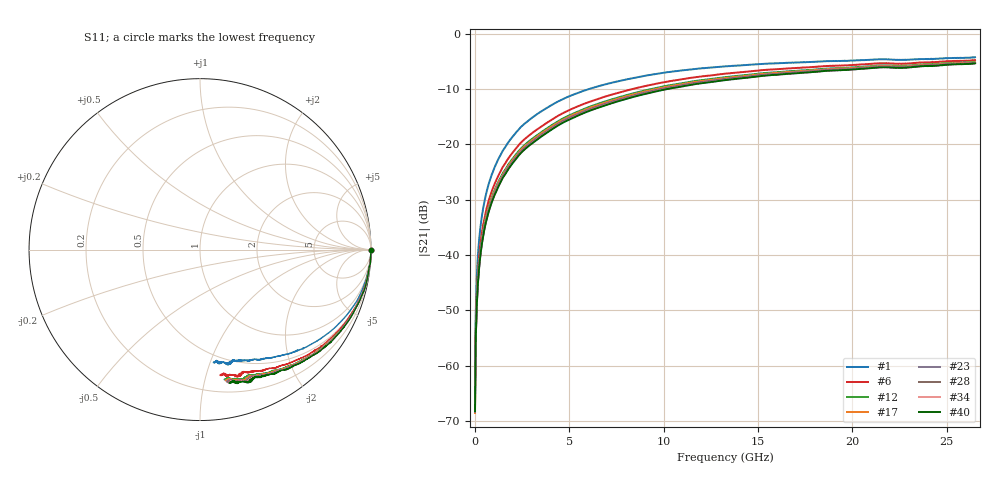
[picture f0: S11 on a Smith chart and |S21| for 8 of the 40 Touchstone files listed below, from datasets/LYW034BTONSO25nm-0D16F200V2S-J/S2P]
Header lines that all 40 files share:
!Keysight Technologies,N5222B,MY61253708,A.15.00.15
!Correction: S11(C  2-Port  )
!S21(C  2-Port  )
!S12(C  2-Port  )
!S22(C  2-Port  )
!S2P File: Measurements: S11, S21, S12, S22:
# Hz S  RI  R 50
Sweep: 10 MHz to 26.5 GHz
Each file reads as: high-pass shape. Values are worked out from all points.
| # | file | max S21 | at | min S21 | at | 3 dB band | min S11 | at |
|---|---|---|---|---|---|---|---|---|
| 1 | LYW034BTONSO25nm_0D16F200V2S_J_0V_dev.s2p | -4.27 dB | 26.38 GHz | -59.6 dB | 10 MHz | 9.636 GHz-26.5 GHz | -3.7 dB | 25.49 GHz |
| 2 | LYW034BTONSO25nm_0D16F200V2S_J_2V_dev.s2p | -4.31 dB | 26.38 GHz | -59.8 dB | 10 MHz | 9.566 GHz-26.5 GHz | -3.7 dB | 25.49 GHz |
| 3 | LYW034BTONSO25nm_0D16F200V2S_J_4V_dev.s2p | -4.41 dB | 26.38 GHz | -61.8 dB | 10 MHz | 9.936 GHz-26.5 GHz | -3.5 dB | 25.49 GHz |
| 4 | LYW034BTONSO25nm_0D16F200V2S_J_6V_dev.s2p | -4.53 dB | 26.38 GHz | -67.0 dB | 10 MHz | 10.89 GHz-26.5 GHz | -3.1 dB | 25.5 GHz |
| 5 | LYW034BTONSO25nm_0D16F200V2S_J_8V_dev.s2p | -4.67 dB | 26.38 GHz | -67.3 dB | 10 MHz | 11.53 GHz-26.5 GHz | -2.8 dB | 25.5 GHz |
| 6 | LYW034BTONSO25nm_0D16F200V2S_J_10V_dev.s2p | -4.79 dB | 26.5 GHz | -67.4 dB | 10 MHz | 11.88 GHz-26.5 GHz | -2.7 dB | 25.5 GHz |
| 7 | LYW034BTONSO25nm_0D16F200V2S_J_12V_dev.s2p | -4.88 dB | 26.5 GHz | -70.5 dB | 10 MHz | 12.18 GHz-26.5 GHz | -2.6 dB | 25.5 GHz |
| 8 | LYW034BTONSO25nm_0D16F200V2S_J_14V_dev.s2p | -4.95 dB | 26.5 GHz | -65.2 dB | 10 MHz | 12.36 GHz-26.5 GHz | -2.5 dB | 25.5 GHz |
| 9 | LYW034BTONSO25nm_0D16F200V2S_J_16V_dev.s2p | -5.00 dB | 26.5 GHz | -77.5 dB | 10 MHz | 12.51 GHz-26.5 GHz | -2.4 dB | 25.5 GHz |
| 10 | LYW034BTONSO25nm_0D16F200V2S_J_18V_dev.s2p | -5.04 dB | 26.5 GHz | -69.8 dB | 10 MHz | 12.63 GHz-26.5 GHz | -2.4 dB | 25.5 GHz |
| 11 | LYW034BTONSO25nm_0D16F200V2S_J_20V_dev.s2p | -5.08 dB | 26.5 GHz | -64.4 dB | 10 MHz | 12.69 GHz-26.5 GHz | -2.4 dB | 25.5 GHz |
| 12 | LYW034BTONSO25nm_0D16F200V2S_J_22V_dev.s2p | -5.10 dB | 26.5 GHz | -63.2 dB | 10 MHz | 12.76 GHz-26.5 GHz | -2.3 dB | 25.5 GHz |
| 13 | LYW034BTONSO25nm_0D16F200V2S_J_24V_dev.s2p | -5.13 dB | 26.5 GHz | -68.1 dB | 10 MHz | 12.81 GHz-26.5 GHz | -2.3 dB | 25.5 GHz |
| 14 | LYW034BTONSO25nm_0D16F200V2S_J_26V_dev.s2p | -5.15 dB | 26.5 GHz | -69.3 dB | 10 MHz | 12.82 GHz-26.5 GHz | -2.3 dB | 25.5 GHz |
| 15 | LYW034BTONSO25nm_0D16F200V2S_J_28V_dev.s2p | -5.16 dB | 26.5 GHz | -73.2 dB | 10 MHz | 12.87 GHz-26.5 GHz | -2.3 dB | 25.5 GHz |
| 16 | LYW034BTONSO25nm_0D16F200V2S_J_30V_dev.s2p | -5.18 dB | 26.5 GHz | -63.0 dB | 10 MHz | 12.93 GHz-26.5 GHz | -2.3 dB | 25.5 GHz |
| 17 | LYW034BTONSO25nm_0D16F200V2S_J_32V_dev.s2p | -5.20 dB | 26.5 GHz | -68.6 dB | 10 MHz | 12.94 GHz-26.5 GHz | -2.2 dB | 25.5 GHz |
| 18 | LYW034BTONSO25nm_0D16F200V2S_J_34V_dev.s2p | -5.21 dB | 26.5 GHz | -70.5 dB | 10 MHz | 12.95 GHz-26.5 GHz | -2.2 dB | 25.5 GHz |
| 19 | LYW034BTONSO25nm_0D16F200V2S_J_36V_dev.s2p | -5.22 dB | 26.5 GHz | -71.2 dB | 10 MHz | 12.99 GHz-26.5 GHz | -2.2 dB | 25.5 GHz |
| 20 | LYW034BTONSO25nm_0D16F200V2S_J_38V_dev.s2p | -5.24 dB | 26.5 GHz | -72.2 dB | 10 MHz | 13.05 GHz-26.5 GHz | -2.2 dB | 25.5 GHz |
| 21 | LYW034BTONSO25nm_0D16F200V2S_J_40V_dev.s2p | -5.25 dB | 26.5 GHz | -68.9 dB | 10 MHz | 13.06 GHz-26.5 GHz | -2.2 dB | 25.5 GHz |
| 22 | LYW034BTONSO25nm_0D16F200V2S_J_42V_dev.s2p | -5.26 dB | 26.5 GHz | -76.0 dB | 10 MHz | 13.06 GHz-26.5 GHz | -2.2 dB | 25.5 GHz |
| 23 | LYW034BTONSO25nm_0D16F200V2S_J_44V_dev.s2p | -5.27 dB | 26.5 GHz | -68.3 dB | 10 MHz | 13.11 GHz-26.5 GHz | -2.2 dB | 25.5 GHz |
| 24 | LYW034BTONSO25nm_0D16F200V2S_J_46V_dev.s2p | -5.28 dB | 26.5 GHz | -64.6 dB | 10 MHz | 13.12 GHz-26.5 GHz | -2.2 dB | 25.5 GHz |
| 25 | LYW034BTONSO25nm_0D16F200V2S_J_48V_dev.s2p | -5.29 dB | 26.5 GHz | -64.6 dB | 20 MHz | 13.12 GHz-26.5 GHz | -2.1 dB | 25.5 GHz |
| 26 | LYW034BTONSO25nm_0D16F200V2S_J_50V_dev.s2p | -5.30 dB | 26.5 GHz | -72.8 dB | 10 MHz | 13.13 GHz-26.5 GHz | -2.1 dB | 25.5 GHz |
| 27 | LYW034BTONSO25nm_0D16F200V2S_J_52V_dev.s2p | -5.31 dB | 26.5 GHz | -65.8 dB | 10 MHz | 13.17 GHz-26.5 GHz | -2.1 dB | 25.5 GHz |
| 28 | LYW034BTONSO25nm_0D16F200V2S_J_54V_dev.s2p | -5.32 dB | 26.5 GHz | -64.4 dB | 10 MHz | 13.18 GHz-26.5 GHz | -2.1 dB | 25.5 GHz |
| 29 | LYW034BTONSO25nm_0D16F200V2S_J_56V_dev.s2p | -5.32 dB | 26.5 GHz | -76.6 dB | 10 MHz | 13.18 GHz-26.5 GHz | -2.1 dB | 25.5 GHz |
| 30 | LYW034BTONSO25nm_0D16F200V2S_J_58V_dev.s2p | -5.33 dB | 26.5 GHz | -66.4 dB | 10 MHz | 13.23 GHz-26.5 GHz | -2.1 dB | 25.5 GHz |
| 31 | LYW034BTONSO25nm_0D16F200V2S_J_60V_dev.s2p | -5.34 dB | 26.5 GHz | -66.7 dB | 10 MHz | 13.23 GHz-26.5 GHz | -2.1 dB | 25.5 GHz |
| 32 | LYW034BTONSO25nm_0D16F200V2S_J_62V_dev.s2p | -5.34 dB | 26.5 GHz | -65.0 dB | 10 MHz | 13.24 GHz-26.5 GHz | -2.1 dB | 25.5 GHz |
| 33 | LYW034BTONSO25nm_0D16F200V2S_J_64V_dev.s2p | -5.34 dB | 26.5 GHz | -67.5 dB | 10 MHz | 13.25 GHz-26.5 GHz | -2.1 dB | 25.5 GHz |
| 34 | LYW034BTONSO25nm_0D16F200V2S_J_66V_dev.s2p | -5.35 dB | 26.5 GHz | -66.9 dB | 10 MHz | 13.27 GHz-26.5 GHz | -2.1 dB | 25.5 GHz |
| 35 | LYW034BTONSO25nm_0D16F200V2S_J_68V_dev.s2p | -5.35 dB | 26.49 GHz | -70.4 dB | 10 MHz | 13.28 GHz-26.5 GHz | -2.1 dB | 25.5 GHz |
| 36 | LYW034BTONSO25nm_0D16F200V2S_J_70V_dev.s2p | -5.35 dB | 26.5 GHz | -65.1 dB | 10 MHz | 13.28 GHz-26.5 GHz | -2.1 dB | 25.5 GHz |
| 37 | LYW034BTONSO25nm_0D16F200V2S_J_72V_dev.s2p | -5.36 dB | 26.5 GHz | -66.0 dB | 10 MHz | 13.29 GHz-26.5 GHz | -2.1 dB | 25.5 GHz |
| 38 | LYW034BTONSO25nm_0D16F200V2S_J_74V_dev.s2p | -5.36 dB | 26.5 GHz | -63.6 dB | 20 MHz | 13.29 GHz-26.5 GHz | -2.1 dB | 25.5 GHz |
| 39 | LYW034BTONSO25nm_0D16F200V2S_J_76V_dev.s2p | -5.36 dB | 26.5 GHz | -70.9 dB | 10 MHz | 13.3 GHz-26.5 GHz | -2.0 dB | 25.5 GHz |
| 40 | LYW034BTONSO25nm_0D16F200V2S_J_78V_dev.s2p | -5.36 dB | 26.5 GHz | -68.3 dB | 10 MHz | 13.3 GHz-26.5 GHz | -2.0 dB | 25.5 GHz |
